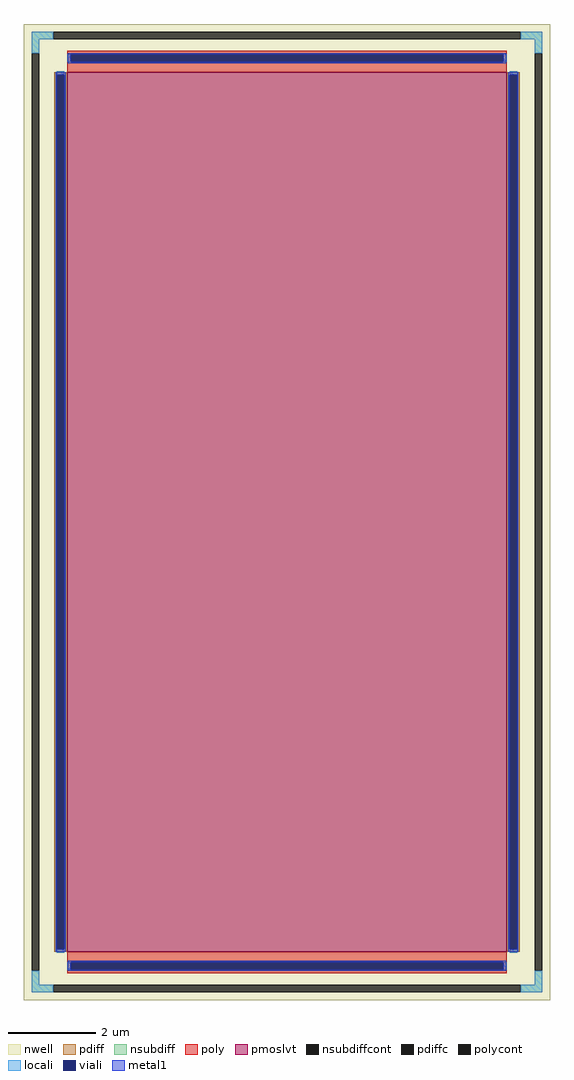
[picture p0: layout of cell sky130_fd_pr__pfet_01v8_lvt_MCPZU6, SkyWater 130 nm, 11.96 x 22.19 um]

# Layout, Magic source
magic
tech sky130A
magscale 1 2
<< nwell >>
rect -1196 -2219 1196 2219
<< pmoslvt >>
rect -1000 -2000 1000 2000
<< pdiff >>
rect -1058 1988 -1000 2000
rect -1058 -1988 -1046 1988
rect -1012 -1988 -1000 1988
rect -1058 -2000 -1000 -1988
rect 1000 1988 1058 2000
rect 1000 -1988 1012 1988
rect 1046 -1988 1058 1988
rect 1000 -2000 1058 -1988
<< pdiffc >>
rect -1046 -1988 -1012 1988
rect 1012 -1988 1046 1988
<< nsubdiff >>
rect -1160 2149 -1064 2183
rect 1064 2149 1160 2183
rect -1160 2087 -1126 2149
rect 1126 2087 1160 2149
rect -1160 -2149 -1126 -2087
rect 1126 -2149 1160 -2087
rect -1160 -2183 -1064 -2149
rect 1064 -2183 1160 -2149
<< nsubdiffcont >>
rect -1064 2149 1064 2183
rect -1160 -2087 -1126 2087
rect 1126 -2087 1160 2087
rect -1064 -2183 1064 -2149
<< poly >>
rect -1000 2081 1000 2097
rect -1000 2047 -984 2081
rect 984 2047 1000 2081
rect -1000 2000 1000 2047
rect -1000 -2047 1000 -2000
rect -1000 -2081 -984 -2047
rect 984 -2081 1000 -2047
rect -1000 -2097 1000 -2081
<< polycont >>
rect -984 2047 984 2081
rect -984 -2081 984 -2047
<< locali >>
rect -1160 2149 -1064 2183
rect 1064 2149 1160 2183
rect -1160 2087 -1126 2149
rect 1126 2087 1160 2149
rect -1000 2047 -984 2081
rect 984 2047 1000 2081
rect -1046 1988 -1012 2004
rect -1046 -2004 -1012 -1988
rect 1012 1988 1046 2004
rect 1012 -2004 1046 -1988
rect -1000 -2081 -984 -2047
rect 984 -2081 1000 -2047
rect -1160 -2149 -1126 -2087
rect 1126 -2149 1160 -2087
rect -1160 -2183 -1064 -2149
rect 1064 -2183 1160 -2149
<< viali >>
rect -984 2047 984 2081
rect -1046 -1988 -1012 1988
rect 1012 -1988 1046 1988
rect -984 -2081 984 -2047
<< metal1 >>
rect -996 2081 996 2087
rect -996 2047 -984 2081
rect 984 2047 996 2081
rect -996 2041 996 2047
rect -1052 1988 -1006 2000
rect -1052 -1988 -1046 1988
rect -1012 -1988 -1006 1988
rect -1052 -2000 -1006 -1988
rect 1006 1988 1052 2000
rect 1006 -1988 1012 1988
rect 1046 -1988 1052 1988
rect 1006 -2000 1052 -1988
rect -996 -2047 996 -2041
rect -996 -2081 -984 -2047
rect 984 -2081 996 -2047
rect -996 -2087 996 -2081
<< properties >>
string FIXED_BBOX -1143 -2166 1143 2166
string gencell sky130_fd_pr__pfet_01v8_lvt
string library sky130
string parameters w 20.0 l 10.0 m 1 nf 1 diffcov 100 polycov 100 guard 1 glc 1 grc 1 gtc 1 gbc 1 tbcov 100 rlcov 100 topc 1 botc 1 poverlap 0 doverlap 1 lmin 0.35 wmin 0.42 class mosfet compatible {sky130_fd_pr__pfet_01v8  sky130_fd_pr__pfet_01v8_lvt sky130_fd_pr__pfet_01v8_hvt  sky130_fd_pr__pfet_g5v0d10v5} full_metal 1 viasrc 100 viadrn 100 viagate 100 viagb 0 viagr 0 viagl 0 viagt 0 ad {int((nf+1)/2) * W/nf * 0.29} as {int((nf+2)/2) * W/nf * 0.29} pd {2*int((nf+1)/2) * (W/nf + 0.29)} ps {2*int((nf+2)/2) * (W/nf + 0.29)} nrd {0.29 / W} nrs {0.29 / W} sa 0 sb 0 sd 0 mult 1
<< end >>
